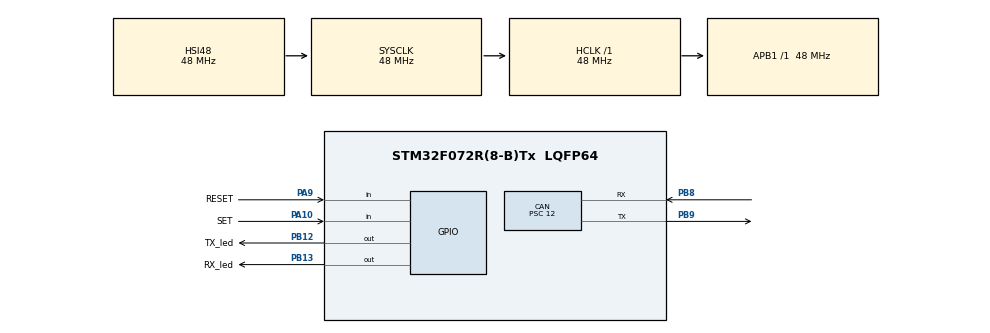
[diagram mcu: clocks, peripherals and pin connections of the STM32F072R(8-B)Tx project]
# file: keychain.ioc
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CAN.ABOM=ENABLE
CAN.BS1=CAN_BS1_12TQ
CAN.BS2=CAN_BS2_3TQ
CAN.CalculateBaudRate=250000
CAN.CalculateTimeBit=4000.00
CAN.CalculateTimeQuantum=250.0
CAN.NART=ENABLE
CAN.Prescaler=12
CAN.TXFP=ENABLE
Mcu.Family=STM32F0
Mcu.Name=STM32F072R(8-B)Tx
Mcu.Package=LQFP64
NVIC.CEC_CAN_IRQn=true\:0\:0\:false\:false\:true\:true\:true
PA10.GPIO_Label=SET
PA10.GPIO_PuPd=GPIO_PULLDOWN
PA10.Signal=GPIO_Input
PA9.GPIO_Label=RESET
PA9.GPIO_PuPd=GPIO_PULLDOWN
PA9.Signal=GPIO_Input
PB12.GPIO_Label=TX_led
PB12.Signal=GPIO_Output
PB13.GPIO_Label=RX_led
PB13.Signal=GPIO_Output
PB8.Mode=CAN_Activate
PB8.Signal=CAN_RX
PB9.Mode=CAN_Activate
PB9.Signal=CAN_TX
PF0-OSC_IN.Mode=HSE-External-Oscillator
PF0-OSC_IN.Signal=RCC_OSC_IN
PF1-OSC_OUT.Mode=HSE-External-Oscillator
PF1-OSC_OUT.Signal=RCC_OSC_OUT
ProjectManager.HeapSize=0x200
ProjectManager.StackSize=0x400
ProjectManager.TargetToolchain=STM32CubeIDE
RCC.AHBFreq_Value=48000000
RCC.APB1Freq_Value=48000000
RCC.APB1TimFreq_Value=48000000
RCC.HCLKFreq_Value=48000000
RCC.SYSCLKFreq_VALUE=48000000
RCC.SYSCLKSource=RCC_SYSCLKSOURCE_HSI48
board=custom

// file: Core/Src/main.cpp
/* USER CODE BEGIN Header */
/**
  ******************************************************************************
  * @file           : main.c
  * @brief          : Main program body
  ******************************************************************************
  * @attention
  *
  * <h2><center>&copy; Copyright (c) 2024 STMicroelectronics.
  * All rights reserved.</center></h2>
  *
  * This software component is licensed by ST under BSD 3-Clause license,
  * the "License"; You may not use this file except in compliance with the
  * License. You may obtain a copy of the License at:
  *                        opensource.org/licenses/BSD-3-Clause
  *
  ******************************************************************************
  */
/* USER CODE END Header */
#include "main.h"

CAN_HandleTypeDef hcan;

/* USER CODE BEGIN PV */

#include "device.h"

/* USER CODE END PV */

void SystemClock_Config(void);
static void MX_GPIO_Init(void);
static void MX_CAN_Init(void);

int main(void)
{

  /* MCU Configuration--------------------------------------------------------*/

  /* Reset of all peripherals, Initializes the Flash interface and the Systick. */
  HAL_Init();

  /* Configure the system clock */
  SystemClock_Config();

  /* Initialize all configured peripherals */
  MX_GPIO_Init();
  MX_CAN_Init();
  /* USER CODE BEGIN 2 */

  decltype(auto) led_tx    = Pin{GPIOB, TX_led_Pin};
  decltype(auto) led_rx    = Pin{GPIOB, RX_led_Pin};
  decltype(auto) but_reset = Pin{GPIOA, SET_Pin};
  decltype(auto) but_set   = Pin{GPIOA, RESET_Pin};

  decltype(auto) can = CAN_{};

  decltype(auto) set    = Button<false>{but_set};
  decltype(auto) reset  = Button<false>{but_reset};

//  decltype(auto) uart = UART_{};

  decltype(auto) device = Device{can, set, reset, interrupt_can_rx, led_tx, led_rx};

  /* USER CODE END 2 */

  /* Infinite loop */
  /* USER CODE BEGIN WHILE */
  while (1)
  {
	  device();

    /* USER CODE END WHILE */

  }
}

void SystemClock_Config(void)
{
  RCC_OscInitTypeDef RCC_OscInitStruct = {0};
  RCC_ClkInitTypeDef RCC_ClkInitStruct = {0};

  /** Initializes the RCC Oscillators according to the specified parameters
  * in the RCC_OscInitTypeDef structure.
  */
  RCC_OscInitStruct.OscillatorType = RCC_OSCILLATORTYPE_HSI48;
  RCC_OscInitStruct.HSI48State = RCC_HSI48_ON;
  RCC_OscInitStruct.PLL.PLLState = RCC_PLL_NONE;
  if (HAL_RCC_OscConfig(&RCC_OscInitStruct) != HAL_OK)
  {
    Error_Handler();
  }
  /** Initializes the CPU, AHB and APB buses clocks
  */
  RCC_ClkInitStruct.ClockType = RCC_CLOCKTYPE_HCLK|RCC_CLOCKTYPE_SYSCLK
                              |RCC_CLOCKTYPE_PCLK1;
  RCC_ClkInitStruct.SYSCLKSource = RCC_SYSCLKSOURCE_HSI48;
  RCC_ClkInitStruct.AHBCLKDivider = RCC_SYSCLK_DIV1;
  RCC_ClkInitStruct.APB1CLKDivider = RCC_HCLK_DIV1;

  if (HAL_RCC_ClockConfig(&RCC_ClkInitStruct, FLASH_LATENCY_1) != HAL_OK)
  {
    Error_Handler();
  }
}

static void MX_CAN_Init(void)
{

  hcan.Instance = CAN;
  hcan.Init.Prescaler = 12;
  hcan.Init.Mode = CAN_MODE_NORMAL;
  hcan.Init.SyncJumpWidth = CAN_SJW_1TQ;
  hcan.Init.TimeSeg1 = CAN_BS1_12TQ;
  hcan.Init.TimeSeg2 = CAN_BS2_3TQ;
  hcan.Init.TimeTriggeredMode = DISABLE;
  hcan.Init.AutoBusOff = ENABLE;
  hcan.Init.AutoWakeUp = DISABLE;
  hcan.Init.AutoRetransmission = ENABLE;
  hcan.Init.ReceiveFifoLocked = DISABLE;
  hcan.Init.TransmitFifoPriority = ENABLE;
  if (HAL_CAN_Init(&hcan) != HAL_OK)
  {
    Error_Handler();
  }
  /* USER CODE BEGIN CAN_Init 2 */
  CAN_FilterTypeDef canfilterconfig;

      	canfilterconfig.FilterActivation = CAN_FILTER_ENABLE;
      	canfilterconfig.FilterBank = 0;
      	canfilterconfig.FilterFIFOAssignment = CAN_FILTER_FIFO0;
      	canfilterconfig.FilterIdHigh = 0;
      	canfilterconfig.FilterIdLow = 0;
      	canfilterconfig.FilterMaskIdHigh = 0;
      	canfilterconfig.FilterMaskIdLow = 0;
      	canfilterconfig.FilterMode = CAN_FILTERMODE_IDMASK;
      	canfilterconfig.FilterScale = CAN_FILTERSCALE_32BIT;
      	canfilterconfig.SlaveStartFilterBank = 14; // how many filters to assign to the CAN1 (master can)

      	HAL_CAN_ConfigFilter(&hcan, &canfilterconfig);

      	HAL_CAN_Start(&hcan);
      	HAL_CAN_ActivateNotification(&hcan, CAN_IT_RX_FIFO0_MSG_PENDING);

  /* USER CODE END CAN_Init 2 */

}

static void MX_GPIO_Init(void)
{
  GPIO_InitTypeDef GPIO_InitStruct = {0};

  /* GPIO Ports Clock Enable */
  __HAL_RCC_GPIOF_CLK_ENABLE();
  __HAL_RCC_GPIOB_CLK_ENABLE();
  __HAL_RCC_GPIOA_CLK_ENABLE();

  /*Configure GPIO pin Output Level */
  HAL_GPIO_WritePin(GPIOB, TX_led_Pin|RX_led_Pin, GPIO_PIN_RESET);

  /*Configure GPIO pins : TX_led_Pin RX_led_Pin */
  GPIO_InitStruct.Pin = TX_led_Pin|RX_led_Pin;
  GPIO_InitStruct.Mode = GPIO_MODE_OUTPUT_PP;
  GPIO_InitStruct.Pull = GPIO_NOPULL;
  GPIO_InitStruct.Speed = GPIO_SPEED_FREQ_LOW;
  HAL_GPIO_Init(GPIOB, &GPIO_InitStruct);

  /*Configure GPIO pins : RESET_Pin SET_Pin */
  GPIO_InitStruct.Pin = RESET_Pin|SET_Pin;
  GPIO_InitStruct.Mode = GPIO_MODE_INPUT;
  GPIO_InitStruct.Pull = GPIO_PULLDOWN;
  HAL_GPIO_Init(GPIOA, &GPIO_InitStruct);

}

void Error_Handler(void)
{
  __disable_irq();
  while (1)
  {
  }
}

/************************ (C) COPYRIGHT STMicroelectronics *****END OF FILE****/
